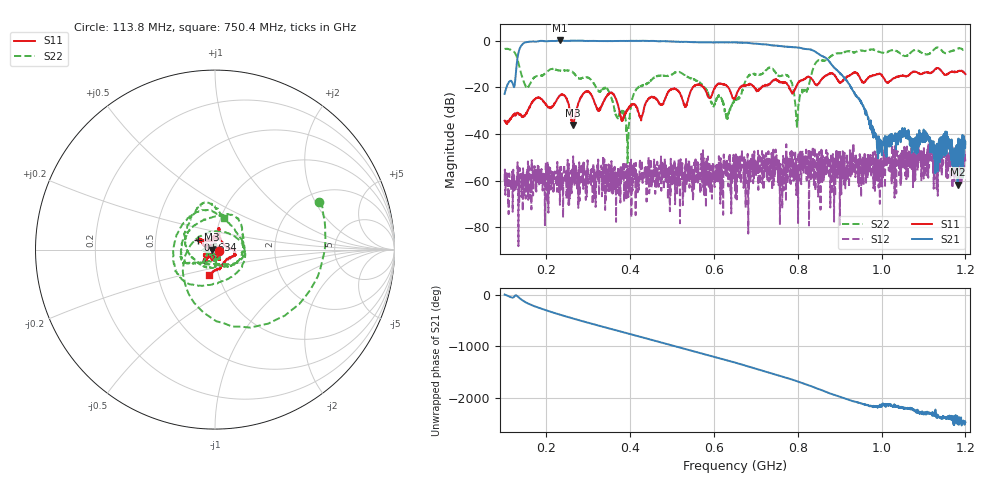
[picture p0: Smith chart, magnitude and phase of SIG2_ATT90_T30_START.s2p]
# Hz S RI R 50
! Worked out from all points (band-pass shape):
!   1601 points, 100 MHz to 1.2 GHz, reference 50 ohm
!   highest |S21| = 0.13 dB at 232 MHz (marker M1); lowest = -61.7 dB at 1.181 GHz (marker M2)
!   |S21| within 3 dB of the highest: 137.2 MHz to 797 MHz (659.8 MHz wide, 141 % of centre); 797.2924 MHz to 798.213 MHz (920.6 kHz wide, 0.115 % of centre)
!   lowest |S11| = -36.1 dB at 263.6 MHz (marker M3), VSWR 1.03, Z = 48.5 + j0.0313 ohm
!   |S11| at or under -10 dB: start of sweep to end of sweep
!   |S22| runs from -52.4 to -2.8 dB; largest |S21 - S12| = 1
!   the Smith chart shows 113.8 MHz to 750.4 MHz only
!   S11 on the Smith chart (normalised r, x): 113.8 MHz: 1.04, -0.02; 563.4 MHz: 0.82, +0.09; 750.4 MHz: 0.90, -0.26
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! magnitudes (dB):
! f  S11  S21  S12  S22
! 100 MHz  -34.3  -22.8  -60.2  -3.5
! 113.8 MHz  -33.2  -17.2  -61.1  -3.9
! 152.9 MHz  -31.2  -0.5  -56.5  -19.9
! 232 MHz  -23.5  0.1  -70.4  -12.9
! 263.6 MHz  -36.1  0.1  -49.6  -13.7
! 283.6 MHz  -24.1  0.0  -58.0  -16.0
! 345.4 MHz  -23.1  -0.1  -59.8  -20.8
! 392.9 MHz  -29.5  -0.1  -60.0  -40.8
! 412.8 MHz  -27.7  -0.1  -74.8  -21.4
! 467.1 MHz  -26.2  -0.2  -57.9  -14.9
! 563.4 MHz  -19.0  -0.7  -59.4  -17.7
! 630.8 MHz  -19.4  -0.7  -51.5  -33.3
! 650 MHz  -24.9  -0.8  -63.8  -25.5
! 686.4 MHz  -18.6  -1.0  -51.2  -14.3
! 750.4 MHz  -16.8  -2.1  -51.7  -14.6
! 781.3 MHz  -20.8  -2.7  -61.0  -16.3
! 797.8 MHz  -19.0  -2.8  -56.6  -37.5
! 833.6 MHz  -16.3  -3.9  -58.8  -13.6
! 993.1 MHz  -14.2  -45.8  -63.0  -4.7
! 1.017 GHz  -17.6  -41.0  -55.7  -4.5
! 1.181 GHz  -13.3  -61.7  -51.8  -3.5
! 1.2 GHz  -14.3  -43.5  -51.7  -4.7
